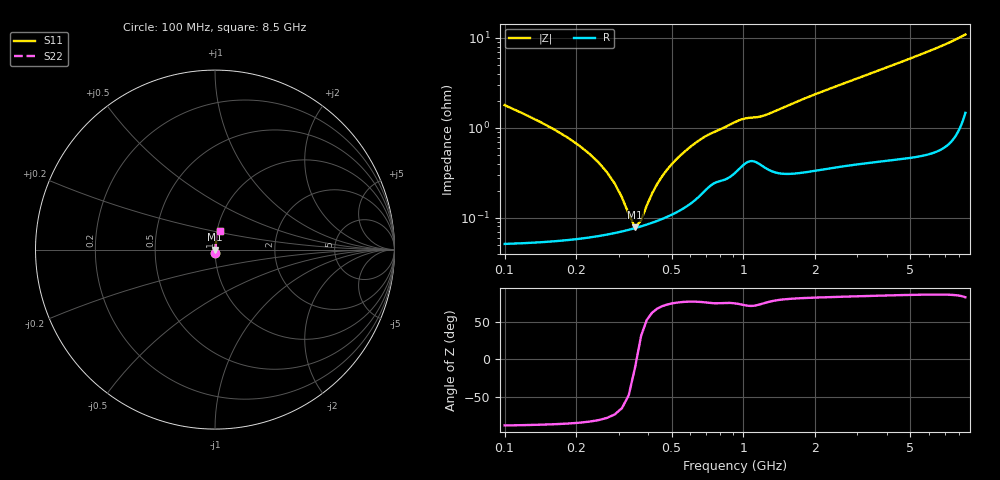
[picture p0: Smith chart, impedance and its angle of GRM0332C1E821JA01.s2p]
!Murata Part Number: GRM0332C1E821JA01
!These Parameters are Measured in Series Mode Connection
!Data Generated on Mar 30, 2021
!  o--ll--o
!Port1  Port2
!  o------o
!Operation Temp=25[degC], DC Bias Voltage=0[V]
!Freq. Start=100[MHz] Stop=9[GHz] 401[Steps]
# Hz S RI R 50
!Freq.(Hz) S11(Real) S11(Imag) S21(Real) S21(Imag) S12(Real) S12(Imag) S22(Real) S22(Imag)
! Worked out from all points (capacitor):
!   401 points, 100 MHz to 8.5 GHz, reference 50 ohm
!   read as one part in series: C = 820 pF near 142 MHz
!   lowest |Z| = 78.1 mohm at 352 MHz (marker M1)
!   series resonance near 356.8 MHz, so ESL is about 240 pH
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1e8  0.000831 -0.0179  0.9992 0.0179  0.9992 0.0179  0.000831 -0.0179
1.42e8  0.000666 -0.0115  0.9993 0.0115  0.9993 0.0115  0.000666 -0.0115
2.26e8  0.000629 -0.00513  0.9994 0.00513  0.9994 0.00513  0.000629 -0.00513
2.68e8  0.000659 -0.00315  0.9993 0.00315  0.9993 0.00315  0.000659 -0.00315
3.1e8  0.000706 -0.00153  0.9993 0.00153  0.9993 0.00153  0.000706 -0.00153
3.31e8  0.000735 -0.000814  0.9993 0.000814  0.9993 0.000814  0.000735 -0.000814
3.52e8  0.000767 -0.000145  0.9992 0.000145  0.9992 0.000145  0.000767 -0.000145
3.73e8  0.000802 0.000486  0.9992 -0.000486  0.9992 -0.000486  0.000802 0.000486
3.94e8  0.000841 0.00108  0.9992 -0.00108  0.9992 -0.00108  0.000841 0.00108
4.57e8  0.000977 0.00273  0.999 -0.00273  0.999 -0.00273  0.000977 0.00273
4.99e8  0.00109 0.00373  0.9989 -0.00373  0.9989 -0.00373  0.00109 0.00373
5.83e8  0.00139 0.00561  0.9986 -0.00561  0.9986 -0.00561  0.00139 0.00561
6.88e8  0.00203 0.00767  0.998 -0.00767  0.998 -0.00767  0.00203 0.00767
9.61e8  0.00362 0.0116  0.9964 -0.0116  0.9964 -0.0116  0.00362 0.0116
1.213e9  0.00385 0.013  0.9961 -0.013  0.9961 -0.013  0.00385 0.013
1.507e9  0.00335 0.017  0.9966 -0.017  0.9966 -0.017  0.00335 0.017
2.095e9  0.00398 0.0244  0.996 -0.0244  0.996 -0.0244  0.00398 0.0244
2.914e9  0.00503 0.034  0.995 -0.034  0.995 -0.034  0.00503 0.034
4.3e9  0.00689 0.05  0.9931 -0.05  0.9931 -0.05  0.00689 0.05
5.707e9  0.00939 0.0666  0.9906 -0.0666  0.9906 -0.0666  0.00939 0.0666
7.114e9  0.0135 0.0844  0.9865 -0.0844  0.9865 -0.0844  0.0135 0.0844
8.5e9  0.0255 0.1039  0.9745 -0.1039  0.9745 -0.1039  0.0255 0.1039
